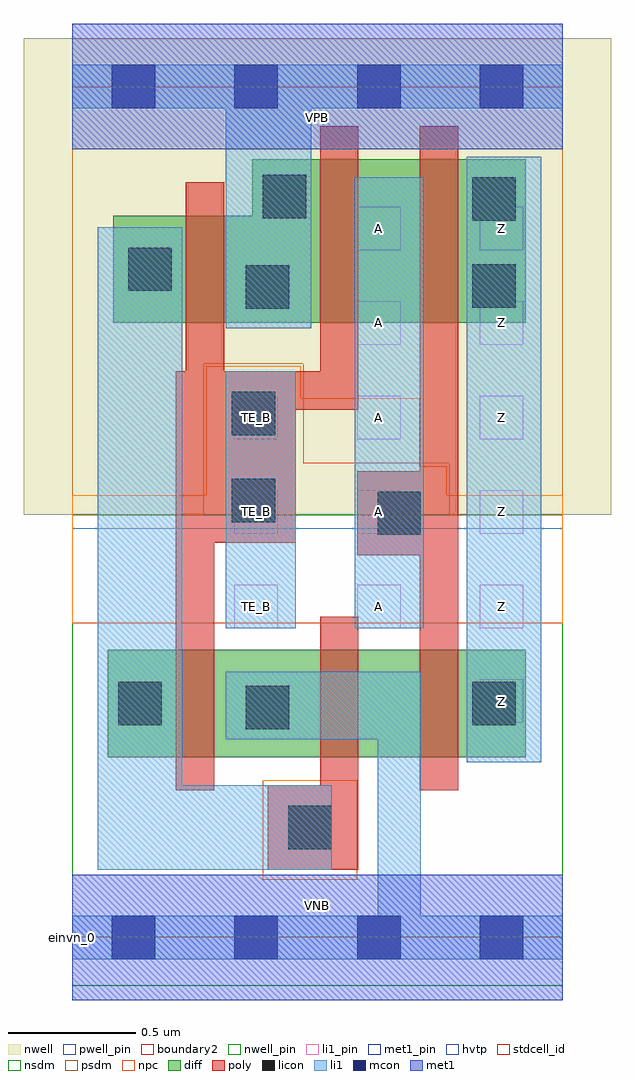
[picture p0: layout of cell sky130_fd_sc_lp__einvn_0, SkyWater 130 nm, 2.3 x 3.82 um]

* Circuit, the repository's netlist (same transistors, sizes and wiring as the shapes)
* Copyright 2020 The SkyWater PDK Authors
*
* Licensed under the Apache License, Version 2.0 (the "License");
* you may not use this file except in compliance with the License.
* You may obtain a copy of the License at
*
*     https://www.apache.org/licenses/LICENSE-2.0
*
* Unless required by applicable law or agreed to in writing, software
* distributed under the License is distributed on an "AS IS" BASIS,
* WITHOUT WARRANTIES OR CONDITIONS OF ANY KIND, either express or implied.
* See the License for the specific language governing permissions and
* limitations under the License.
*
* SPDX-License-Identifier: Apache-2.0

.SUBCKT sky130_fd_sc_lp__einvn_0 A TE_B VGND VNB VPB VPWR Z
*.PININFO A:I TE_B:I VGND:I VNB:I VPB:I VPWR:I Z:O
MMN0 Z A sndA VNB sky130_fd_pr__nfet_01v8 m=1 w=0.42U l=0.15U mult=1 sa=0.265 sb=0.265
+ sd=0.28 area=0.063 perim=1.14
MMN1 sndA net32 VGND VNB sky130_fd_pr__nfet_01v8 m=1 w=0.42U l=0.15U mult=1 sa=0.265
+ sb=0.265 sd=0.28 area=0.063 perim=1.14
MMIN1 net32 TE_B VGND VNB sky130_fd_pr__nfet_01v8 m=1 w=0.42U l=0.15U mult=1 sa=0.265
+ sb=0.265 sd=0.28 area=0.063 perim=1.14
MMP0 VPWR TE_B sndTEB VPB sky130_fd_pr__pfet_01v8_hvt m=1 w=0.64U l=0.15U mult=1
+ sa=0.265 sb=0.265 sd=0.28 area=0.063 perim=1.14
MMP1 sndTEB A Z VPB sky130_fd_pr__pfet_01v8_hvt m=1 w=0.64U l=0.15U mult=1 sa=0.265
+ sb=0.265 sd=0.28 area=0.063 perim=1.14
MMIP1 net32 TE_B VPWR VPB sky130_fd_pr__pfet_01v8_hvt m=1 w=0.42U l=0.15U mult=1
+ sa=0.265 sb=0.265 sd=0.28 area=0.063 perim=1.14
.ENDS sky130_fd_sc_lp__einvn_0

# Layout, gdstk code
import gdstk
lib = gdstk.Library(unit=1e-6, precision=1e-09)
def R(c, l, rs):  # rectangles x0, y0, x1, y1
    for r in rs: c.add(gdstk.rectangle(r[:2], r[2:], *l))
def A(c, l, x, y, w, h, nx, ny, dx, dy):  # array of equal rectangles
    R(c, l, [(x+i*dx, y+j*dy, x+i*dx+w, y+j*dy+h) for i in range(nx) for j in range(ny)])
def P(c, l, *ps):  # polygons
    for p in ps: c.add(gdstk.Polygon(p, *l))
nwell_pin = (64, 16)
nwell = (64, 20)
diff = (65, 20)
poly = (66, 20)
licon = (66, 44)
li1_pin = (67, 16)
li1 = (67, 20)
mcon = (67, 44)
met1_pin = (68, 16)
met1 = (68, 20)
hvtp = (78, 44)
stdcell_id = (81, 4)
nsdm = (93, 44)
psdm = (94, 20)
npc = (95, 20)
pwell_pin = (122, 16)
boundary2 = (236, 0)

sky130_fd_sc_lp__einvn_0 = lib.new_cell('sky130_fd_sc_lp__einvn_0')
R(sky130_fd_sc_lp__einvn_0, nwell_pin, [(0,3.085,1.92,3.33)])
R(sky130_fd_sc_lp__einvn_0, nwell, [(-0.19,1.655,2.11,3.52)])
R(sky130_fd_sc_lp__einvn_0, diff, [(0.14,0.705,1.775,1.125)])
P(sky130_fd_sc_lp__einvn_0, diff, [(1.775,3.045),(0.705,3.045),(0.705,2.825),(0.16,2.825),(0.16,2.405),(1.775,2.405)])
P(sky130_fd_sc_lp__einvn_0, poly, [(1.12,3.175),(0.97,3.175),(0.97,2.215),(0.595,2.215),(0.595,2.955),(0.445,2.955),(0.445,2.215),(0.405,2.215),(0.405,0.575),(0.555,0.575),(0.555,1.545),(0.875,1.545),(0.875,2.065),(1.12,2.065)],
  [(1.12,1.255),(0.97,1.255),(0.97,0.595),(0.765,0.595),(0.765,0.265),(1.12,0.265)],
  [(1.51,3.175),(1.36,3.175),(1.36,1.825),(1.115,1.825),(1.115,1.495),(1.36,1.495),(1.36,0.575),(1.51,0.575)])
R(sky130_fd_sc_lp__einvn_0, licon, [(0.845,0.345,1.015,0.515), (0.68,0.815,0.85,0.985), (0.18,0.83,0.35,1), (1.565,0.83,1.735,1), (1.195,1.575,1.365,1.745), (0.625,1.625,0.795,1.795), (0.625,1.965,0.795,2.135), (0.68,2.46,0.85,2.63), (1.565,2.465,1.735,2.635), (0.22,2.53,0.39,2.7), (1.565,2.805,1.735,2.975), (0.745,2.815,0.915,2.985)])
A(sky130_fd_sc_lp__einvn_0, li1_pin, 0.635, 1.21, 0.17, 0.17, 3, 3, 0.48, 0.37)
R(sky130_fd_sc_lp__einvn_0, li1_pin, [(1.595,0.84,1.765,1.01), (1.115,2.32,1.285,2.49), (1.595,2.32,1.765,2.49), (1.115,2.69,1.285,2.86), (1.595,2.69,1.765,2.86)])
R(sky130_fd_sc_lp__einvn_0, li1, [(1.545,0.685,1.835,3.055), (0.6,1.21,0.875,2.215), (1.105,1.21,1.375,2.975)])
P(sky130_fd_sc_lp__einvn_0, li1, [(0.6,2.385),(0.6,3.245),(0,3.245),(0,3.415),(1.92,3.415),(1.92,3.245),(0.935,3.245),(0.935,2.385)],
  [(1.195,0.085),(1.195,0.775),(0.6,0.775),(0.6,1.04),(1.365,1.04),(1.365,0.085),(1.92,0.085),(1.92,-0.085),(0,-0.085),(0,0.085)],
  [(0.43,0.595),(1.015,0.595),(1.015,0.265),(0.1,0.265),(0.1,2.78),(0.43,2.78)])
A(sky130_fd_sc_lp__einvn_0, mcon, 0.155, -0.085, 0.17, 0.17, 4, 2, 0.48, 3.33)
R(sky130_fd_sc_lp__einvn_0, met1_pin, [(0,0,1.92,0.245), (0,3.085,1.92,3.33)])
R(sky130_fd_sc_lp__einvn_0, met1, [(0,-0.245,1.92,0.245), (0,3.085,1.92,3.575)])
R(sky130_fd_sc_lp__einvn_0, hvtp, [(0,1.6,1.92,3.33)])
R(sky130_fd_sc_lp__einvn_0, stdcell_id, [(0,0,1.92,3.33)])
R(sky130_fd_sc_lp__einvn_0, nsdm, [(0,-0.19,1.92,1.655)])
P(sky130_fd_sc_lp__einvn_0, psdm, [(1.92,3.52),(0,3.52),(0,1.655),(0.515,1.655),(0.515,2.245),(0.905,2.245),(0.905,1.855),(1.475,1.855),(1.475,1.655),(1.92,1.655)])
R(sky130_fd_sc_lp__einvn_0, npc, [(0.745,0.225,1.115,0.615)])
P(sky130_fd_sc_lp__einvn_0, npc, [(1.92,1.73),(1.465,1.73),(1.465,1.845),(1.36,1.845),(1.36,2.11),(0.895,2.11),(0.895,2.235),(0.525,2.235),(0.525,1.73),(0,1.73),(0,1.23),(1.92,1.23)])
R(sky130_fd_sc_lp__einvn_0, pwell_pin, [(0,0,1.92,0.245)])
R(sky130_fd_sc_lp__einvn_0, boundary2, [(0,0,1.92,3.33)])
sky130_fd_sc_lp__einvn_0.add(gdstk.Label('VNB', (0.96,0.123), layer=64, texttype=59))
sky130_fd_sc_lp__einvn_0.add(gdstk.Label('VPB', (0.96,3.208), layer=64, texttype=5))
sky130_fd_sc_lp__einvn_0.add(gdstk.Label('einvn_0', (0,0), layer=83, texttype=44))
sky130_fd_sc_lp__einvn_0.add(gdstk.Label('VPWR', (0.96,3.208), layer=68, texttype=5))
sky130_fd_sc_lp__einvn_0.add(gdstk.Label('VGND', (0.96,0.123), layer=68, texttype=5))
sky130_fd_sc_lp__einvn_0.add(gdstk.Label('A', (1.2,1.295), layer=67, texttype=5))
sky130_fd_sc_lp__einvn_0.add(gdstk.Label('A', (1.2,1.665), layer=67, texttype=5))
sky130_fd_sc_lp__einvn_0.add(gdstk.Label('A', (1.2,2.035), layer=67, texttype=5))
sky130_fd_sc_lp__einvn_0.add(gdstk.Label('A', (1.2,2.405), layer=67, texttype=5))
sky130_fd_sc_lp__einvn_0.add(gdstk.Label('A', (1.2,2.775), layer=67, texttype=5))
sky130_fd_sc_lp__einvn_0.add(gdstk.Label('TE_B', (0.72,1.295), layer=67, texttype=5))
sky130_fd_sc_lp__einvn_0.add(gdstk.Label('TE_B', (0.72,1.665), layer=67, texttype=5))
sky130_fd_sc_lp__einvn_0.add(gdstk.Label('TE_B', (0.72,2.035), layer=67, texttype=5))
sky130_fd_sc_lp__einvn_0.add(gdstk.Label('Z', (1.68,0.925), layer=67, texttype=5))
sky130_fd_sc_lp__einvn_0.add(gdstk.Label('Z', (1.68,1.295), layer=67, texttype=5))
sky130_fd_sc_lp__einvn_0.add(gdstk.Label('Z', (1.68,1.665), layer=67, texttype=5))
sky130_fd_sc_lp__einvn_0.add(gdstk.Label('Z', (1.68,2.035), layer=67, texttype=5))
sky130_fd_sc_lp__einvn_0.add(gdstk.Label('Z', (1.68,2.405), layer=67, texttype=5))
sky130_fd_sc_lp__einvn_0.add(gdstk.Label('Z', (1.68,2.775), layer=67, texttype=5))

lib.write_gds('sky130_fd_sc_lp__einvn_0.gds')
